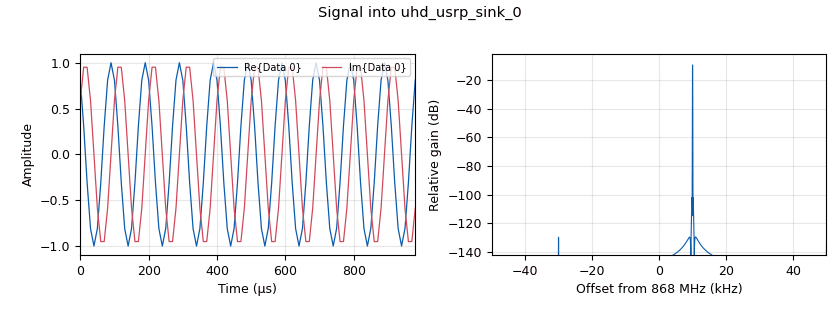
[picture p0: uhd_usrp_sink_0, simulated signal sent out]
<?xml version='1.0' encoding='utf-8'?>
<?grc format='1' created='3.7.12'?>
<flow_graph>
<block>
<key>options</key>
<param><key>id</key><value>top_block</value></param>
<param><key>generate_options</key><value>qt_gui</value></param>
</block>
<block>
<key>variable</key>
<param><key>id</key><value>center_freq</value></param>
<param><key>value</key><value>868e6</value></param>
</block>
<block>
<key>variable</key>
<param><key>id</key><value>freq</value></param>
<param><key>value</key><value>10e3</value></param>
</block>
<block>
<key>variable</key>
<param><key>id</key><value>samp_rate</value></param>
<param><key>value</key><value>0.1e6</value></param>
</block>
<block>
<key>analog_sig_source_x</key>
<param><key>id</key><value>analog_sig_source_x_0</value></param>
<param><key>amp</key><value>1</value></param>
<param><key>freq</key><value>freq</value></param>
<param><key>offset</key><value>0</value></param>
<param><key>type</key><value>complex</value></param>
<param><key>samp_rate</key><value>samp_rate</value></param>
<param><key>waveform</key><value>analog.GR_COS_WAVE</value></param>
</block>
<block>
<key>qtgui_sink_x</key>
<param><key>id</key><value>qtgui_sink_x_0</value></param>
<param><key>bw</key><value>samp_rate</value></param>
<param><key>fc</key><value>center_freq</value></param>
<param><key>freqchangevar</key><value>None</value></param>
<param><key>_enabled</key><value>0</value></param>
<param><key>fftsize</key><value>1024</value></param>
<param><key>showports</key><value>True</value></param>
<param><key>type</key><value>complex</value></param>
<param><key>wintype</key><value>firdes.WIN_BLACKMAN_hARRIS</value></param>
</block>
<block>
<key>qtgui_sink_x</key>
<param><key>id</key><value>qtgui_sink_x_0_0</value></param>
<param><key>bw</key><value>samp_rate</value></param>
<param><key>fc</key><value>center_freq</value></param>
<param><key>freqchangevar</key><value>None</value></param>
<param><key>_enabled</key><value>0</value></param>
<param><key>fftsize</key><value>1024</value></param>
<param><key>name</key><value>"Receive"</value></param>
<param><key>showports</key><value>True</value></param>
<param><key>type</key><value>complex</value></param>
<param><key>wintype</key><value>firdes.WIN_BLACKMAN_hARRIS</value></param>
</block>
<block>
<key>uhd_usrp_sink</key>
<param><key>id</key><value>uhd_usrp_sink_0</value></param>
<param><key>ant0</key><value>TX/RX</value></param>
<param><key>center_freq0</key><value>center_freq</value></param>
<param><key>norm_gain0</key><value>False</value></param>
<param><key>gain0</key><value>30</value></param>
<param><key>clock_rate</key><value>0.0</value></param>
<param><key>dev_addr</key><value>"serial=30C62C6"</value></param>
<param><key>dev_args</key><value>""</value></param>
<param><key>type</key><value>fc32</value></param>
<param><key>samp_rate</key><value>samp_rate</value></param>
<param><key>hide_cmd_port</key><value>False</value></param>
<param><key>hide_lo_controls</key><value>True</value></param>
<param><key>sync</key><value></value></param>
<param><key>len_tag_name</key><value></value></param>
</block>
<block>
<key>uhd_usrp_source</key>
<param><key>id</key><value>uhd_usrp_source_0_0</value></param>
<param><key>ant0</key><value>RX2</value></param>
<param><key>center_freq0</key><value>center_freq</value></param>
<param><key>dc_offs_enb0</key><value>""</value></param>
<param><key>iq_imbal_enb0</key><value>""</value></param>
<param><key>norm_gain0</key><value>False</value></param>
<param><key>gain0</key><value>40</value></param>
<param><key>clock_rate</key><value>0.0</value></param>
<param><key>dev_addr</key><value>"serial=30C62B2"</value></param>
<param><key>dev_args</key><value>""</value></param>
<param><key>_enabled</key><value>0</value></param>
<param><key>type</key><value>fc32</value></param>
<param><key>samp_rate</key><value>samp_rate</value></param>
<param><key>hide_cmd_port</key><value>False</value></param>
<param><key>hide_lo_controls</key><value>True</value></param>
<param><key>sync</key><value></value></param>
</block>
<connection><source_block_id>analog_sig_source_x_0</source_block_id><sink_block_id>qtgui_sink_x_0</sink_block_id><source_key>0</source_key><sink_key>0</sink_key></connection>
<connection><source_block_id>analog_sig_source_x_0</source_block_id><sink_block_id>uhd_usrp_sink_0</sink_block_id><source_key>0</source_key><sink_key>0</sink_key></connection>
<connection><source_block_id>uhd_usrp_source_0_0</source_block_id><sink_block_id>qtgui_sink_x_0_0</sink_block_id><source_key>0</source_key><sink_key>0</sink_key></connection>
</flow_graph>
